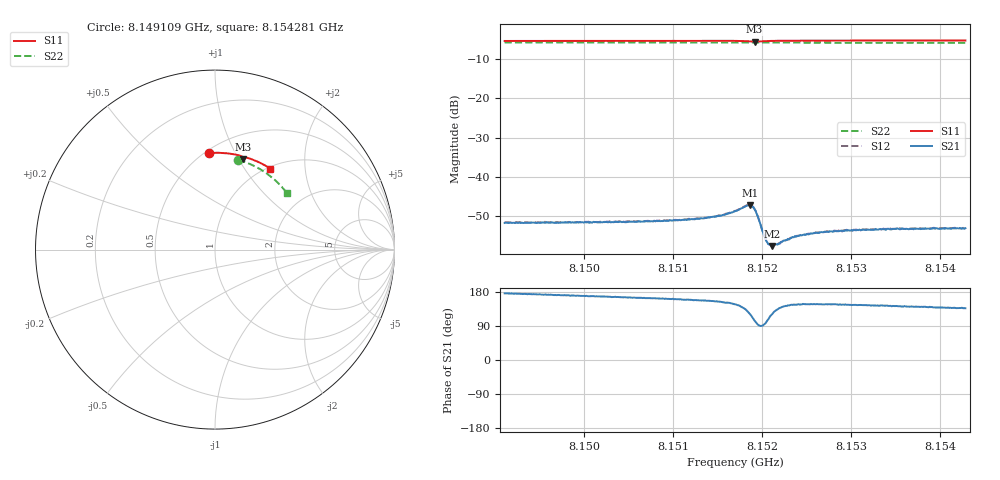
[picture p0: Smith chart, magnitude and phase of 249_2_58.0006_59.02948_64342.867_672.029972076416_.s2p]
#  HZ  S  RI  R  50.00
! Rohde & Schwarz Vector Network Analyzer
! Rohde-Schwarz,ZNB20-2Port,1311601062101988,3.16
! Created: UTC 3/21/2024, 1:01:23 AM
! freq[Hz]  re:S11  im:S11  re:S21  im:S21  re:S12  im:S12  re:S22  im:S22
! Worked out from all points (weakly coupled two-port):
!   401 points, 8.149109 GHz to 8.154281 GHz, reference 50 ohm
!   highest |S21| = -47.15 dB at 8.151863 GHz (marker M1); lowest = -57.5 dB at 8.152109 GHz (marker M2)
!   lowest |S11| = -5.5 dB at 8.151915 GHz (marker M3), VSWR 3.24, Z = 37.3 + j52.2 ohm
!   |S11| at or under -10 dB: nowhere
!   |S22| runs from -5.9 to -5.7 dB; largest |S21 - S12| = 0.00011
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8.1491086e9  -0.0324 0.5373  -0.00261 0.000188  -0.00266 0.000228  0.1301 0.4994
8.149975e9  0.0281 0.5391  -0.00262 0.000496  -0.00261 0.000531  0.1834 0.4814
8.1508415e9  0.0886 0.5339  -0.00265 0.000843  -0.00266 0.000885  0.2342 0.4577
8.1511648e9  0.1113 0.5301  -0.00272 0.00102  -0.00272 0.0011  0.2524 0.4474
8.1513846e9  0.1268 0.5266  -0.0028 0.00122  -0.0028 0.00126  0.2644 0.4401
8.1515398e9  0.1383 0.5235  -0.00289 0.00145  -0.00288 0.00154  0.2729 0.4345
8.151695e9  0.1501 0.5187  -0.0031 0.002  -0.00311 0.00206  0.2812 0.429
8.1518114e9  0.1583 0.5118  -0.00295 0.00305  -0.0029 0.00316  0.2871 0.4245
8.1518631e9  0.1591 0.507  -0.00227 0.00376  -0.00225 0.00381  0.2899 0.4227
8.151889e9  0.1582 0.5052  -0.00164 0.00392  -0.0016 0.00397  0.2911 0.4215
8.1519148e9  0.1565 0.5047  -0.000932 0.0038  -0.000886 0.00382  0.2922 0.4207
8.1519536e9  0.1547 0.5065  -0.000162 0.0031  -0.000141 0.00309  0.294 0.4193
8.1520053e9  0.1567 0.5105  -2.89e-05 0.00205  -4.1e-05 0.00203  0.2968 0.4176
8.1520441e9  0.1597 0.5124  -0.000242 0.00154  -0.000246 0.00157  0.2989 0.4161
8.1520829e9  0.1632 0.5131  -0.000544 0.00128  -0.000524 0.0013  0.3009 0.4148
8.1521088e9  0.1658 0.5133  -0.000669 0.00115  -0.000637 0.00116  0.3024 0.4137
8.1521735e9  0.1712 0.513  -0.00096 0.00101  -0.000952 0.00104  0.3057 0.4111
8.1523545e9  0.1852 0.5101  -0.00143 0.000955  -0.0014 0.000997  0.3148 0.404
8.1525614e9  0.1997 0.5052  -0.00161 0.00104  -0.00158 0.00106  0.3248 0.3955
8.1528071e9  0.2162 0.4992  -0.00172 0.00111  -0.00174 0.00116  0.3368 0.3851
8.1534278e9  0.2559 0.4812  -0.00174 0.00132  -0.00175 0.00135  0.3649 0.3572
8.1542814e9  0.3071 0.4517  -0.00163 0.00154  -0.0016 0.00158  0.3998 0.3159
